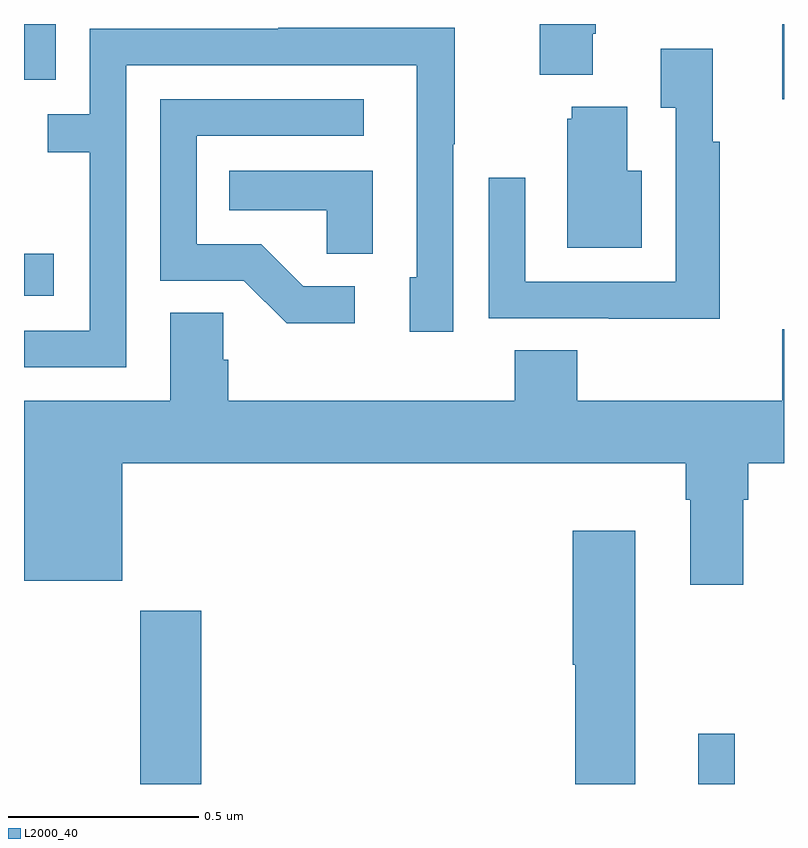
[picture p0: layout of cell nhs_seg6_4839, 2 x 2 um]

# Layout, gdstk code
import gdstk
lib = gdstk.Library(unit=1e-6, precision=1e-09)
def R(c, l, rs):  # rectangles x0, y0, x1, y1
    for r in rs: c.add(gdstk.rectangle(r[:2], r[2:], *l))
def P(c, l, *ps):  # polygons
    for p in ps: c.add(gdstk.Polygon(p, *l))
L2000_40 = (2000, 40)

nhs_seg6_4839 = lib.new_cell('nhs_seg6_4839')
R(nhs_seg6_4839, L2000_40, [(175.306,938.5,175.466,938.956), (176.774,938.5,176.871,938.632), (175,939.785,175.078,939.895), (176.996,940.302,177,940.5), (175,940.353,175.083,940.5)])
P(nhs_seg6_4839, L2000_40, [(176.497,940.474),(176.505,940.474),(176.505,940.5),(176.357,940.5),(176.357,940.367),(176.497,940.367)],
  [(175.269,940.392),(176.034,940.392),(176.034,939.834),(176.015,939.834),(176.015,939.69),(176.13,939.69),(176.13,940.183),(176.133,940.183),(176.133,940.49),(175.669,940.49),(175.669,940.488),(175.173,940.488),(175.173,940.263),(175.063,940.263),(175.063,940.162),(175.173,940.162),(175.173,939.693),(175,939.693),(175,939.597),(175.269,939.597)],
  [(176.831,940.19),(176.813,940.19),(176.813,940.435),(176.675,940.435),(176.675,940.279),(176.715,940.279),(176.715,939.822),(176.319,939.822),(176.319,940.096),(176.223,940.096),(176.223,939.726),(176.539,939.726),(176.539,939.725),(176.831,939.725)],
  [(175.87,939.81),(175.735,939.81),(175.624,939.921),(175.455,939.921),(175.455,940.206),(175.894,940.206),(175.894,940.302),(175.359,940.302),(175.359,939.825),(175.578,939.825),(175.691,939.713),(175.87,939.713)],
  [(176.626,940.114),(176.587,940.114),(176.587,940.282),(176.441,940.282),(176.441,940.251),(176.429,940.251),(176.429,939.911),(176.626,939.911)],
  [(175.918,940.114),(175.54,940.114),(175.54,940.01),(175.797,940.01),(175.797,939.895),(175.918,939.895)],
  [(176.893,939.248),(176.906,939.248),(176.906,939.344),(177,939.344),(177,939.697),(176.996,939.697),(176.996,939.508),(176.456,939.508),(176.456,939.641),(176.291,939.641),(176.291,939.508),(175.538,939.508),(175.538,939.617),(175.524,939.617),(175.524,939.74),(175.385,939.74),(175.385,939.508),(175,939.508),(175,939.035),(175.258,939.035),(175.258,939.344),(176.741,939.344),(176.741,939.248),(176.753,939.248),(176.753,939.024),(176.893,939.024)],
  [(176.608,939.166),(176.444,939.166),(176.444,938.814),(176.45,938.814),(176.45,938.5),(176.608,938.5)])

lib.write_gds('nhs_seg6_4839.gds')
